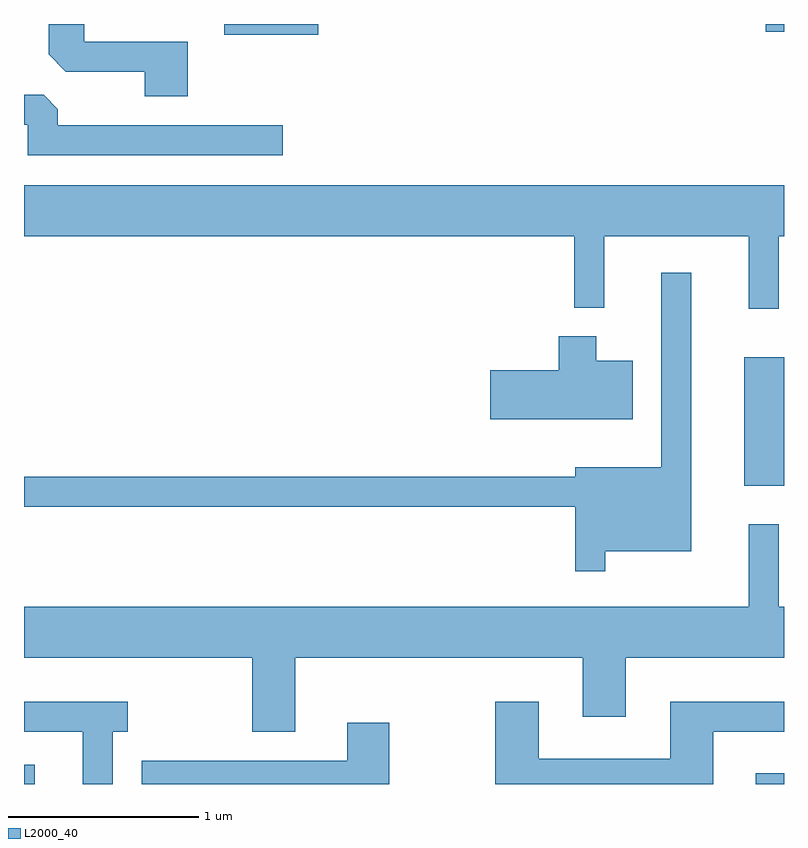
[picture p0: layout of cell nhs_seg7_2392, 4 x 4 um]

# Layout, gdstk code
import gdstk
lib = gdstk.Library(unit=1e-6, precision=1e-09)
def R(c, l, rs):  # rectangles x0, y0, x1, y1
    for r in rs: c.add(gdstk.rectangle(r[:2], r[2:], *l))
def P(c, l, *ps):  # polygons
    for p in ps: c.add(gdstk.Polygon(p, *l))
L2000_40 = (2000, 40)

nhs_seg7_2392 = lib.new_cell('nhs_seg7_2392')
R(nhs_seg7_2392, L2000_40, [(257.611,1780.252,257.668,1780.354), (261.462,1780.252,261.611,1780.309), (261.401,1781.821,261.611,1782.499), (258.666,1784.196,259.159,1784.252), (261.516,1784.211,261.611,1784.252)])
P(nhs_seg7_2392, L2000_40, [(258.474,1784.159),(257.929,1784.159),(257.929,1784.252),(257.741,1784.252),(257.741,1784.092),(257.832,1784.001),(258.246,1784.001),(258.246,1783.871),(258.474,1783.871)],
  [(258.973,1783.719),(257.789,1783.719),(257.789,1783.804),(257.714,1783.879),(257.611,1783.879),(257.611,1783.721),(257.631,1783.721),(257.631,1783.561),(258.973,1783.561)],
  [(261.584,1783.136),(261.611,1783.136),(261.611,1783.404),(257.611,1783.404),(257.611,1783.136),(260.506,1783.136),(260.506,1782.758),(260.664,1782.758),(260.664,1783.136),(261.426,1783.136),(261.426,1782.753),(261.584,1782.753)],
  [(260.669,1781.476),(261.124,1781.476),(261.124,1782.943),(260.966,1782.943),(260.966,1781.919),(260.511,1781.919),(260.511,1781.869),(257.611,1781.869),(257.611,1781.711),(260.511,1781.711),(260.511,1781.373),(260.669,1781.373)],
  [(260.814,1782.479),(260.624,1782.479),(260.624,1782.609),(260.426,1782.609),(260.426,1782.429),(260.066,1782.429),(260.066,1782.171),(260.814,1782.171)],
  [(259.039,1780.916),(260.551,1780.916),(260.551,1780.606),(260.779,1780.606),(260.779,1780.916),(261.611,1780.916),(261.611,1781.184),(261.584,1781.184),(261.584,1781.618),(261.426,1781.618),(261.426,1781.184),(257.611,1781.184),(257.611,1780.916),(258.811,1780.916),(258.811,1780.526),(259.039,1780.526)],
  [(261.239,1780.526),(261.611,1780.526),(261.611,1780.684),(261.011,1780.684),(261.011,1780.384),(260.319,1780.384),(260.319,1780.684),(260.091,1780.684),(260.091,1780.252),(261.239,1780.252)],
  [(258.079,1780.526),(258.158,1780.526),(258.158,1780.684),(257.611,1780.684),(257.611,1780.526),(257.921,1780.526),(257.921,1780.252),(258.079,1780.252)],
  [(259.534,1780.574),(259.311,1780.574),(259.311,1780.374),(258.231,1780.374),(258.231,1780.252),(259.534,1780.252)])

lib.write_gds('nhs_seg7_2392.gds')
